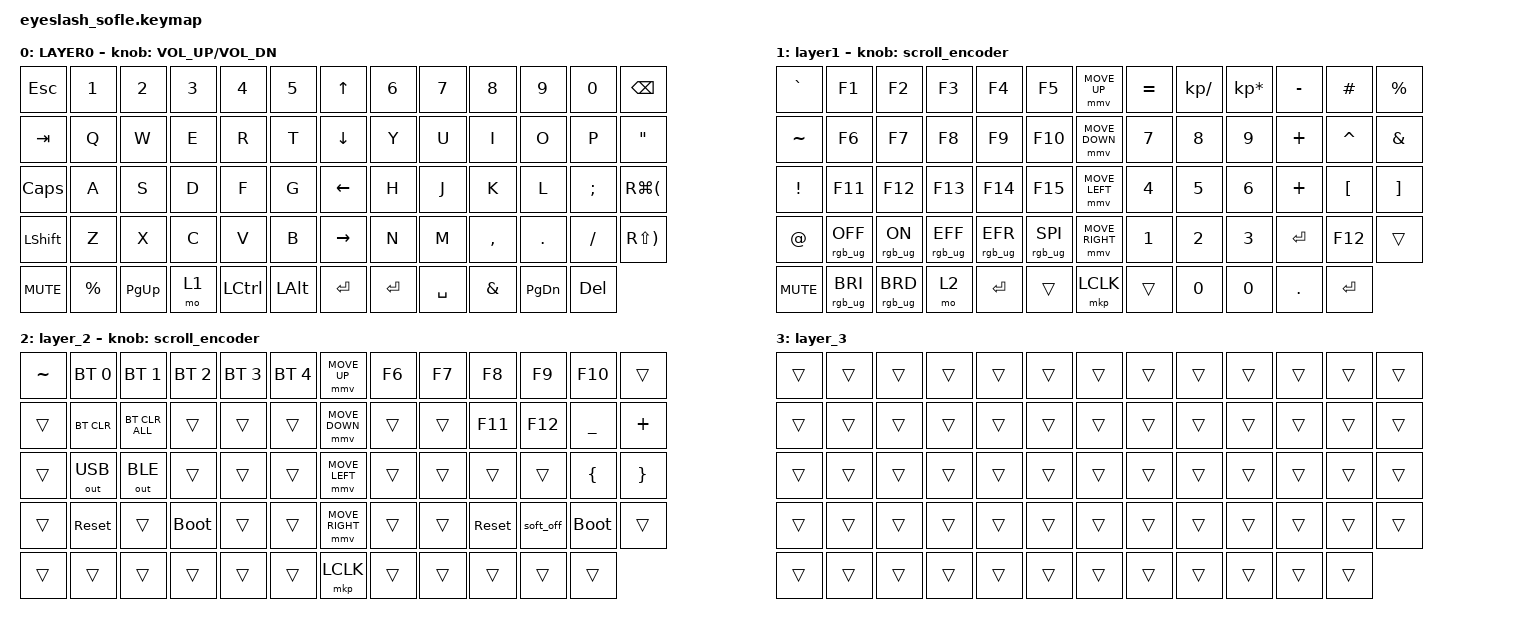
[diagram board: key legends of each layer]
#define ZMK_POINTING_DEFAULT_MOVE_VAL 1200  // 600
#define ZMK_POINTING_DEFAULT_SCRL_VAL 35    // 10

#include <input/processors.dtsi>
#include <zephyr/dt-bindings/input/input-event-codes.h>
#include <behaviors.dtsi>
#include <dt-bindings/zmk/bt.h>
#include <dt-bindings/zmk/keys.h>
#include <dt-bindings/zmk/outputs.h>
#include <dt-bindings/zmk/pointing.h>
#include <dt-bindings/zmk/rgb.h>

/ {
    zip_scroll_scaler: zip_scroll_scaler {
        compatible = "zmk,input-processor-scaler";
        #input-processor-cells = <2>;
        type = <INPUT_EV_REL>;
        codes = <INPUT_REL_WHEEL INPUT_REL_HWHEEL>;
        track-remainders;
    };
};

&mmv_input_listener { input-processors = <&zip_xy_scaler 2 1>; };

&msc_input_listener { input-processors = <&zip_scroll_scaler 2 1>; };

&msc {
    acceleration-exponent = <0>;      // 0
    time-to-max-speed-ms = <0>;       // 300
    delay-ms = <0>;                   // 0
};

&mmv {
    time-to-max-speed-ms = <400>;
    acceleration-exponent = <1>;
};

/ {
    scroll_encoder: scroll_encoder {
        compatible = "zmk,behavior-sensor-rotate";
        #sensor-binding-cells = <0>;
        bindings = <&msc SCRL_DOWN>, <&msc SCRL_UP>;

        tap-ms = <30>;
    };

    behaviors {
    };

    keymap {
        compatible = "zmk,keymap";

        layer0 {
            bindings = <
&kp ESC     &kp N1       &kp N2       &kp N3  &kp N4            &kp N5          &kp UP_ARROW     &kp N6     &kp N7     &kp N8         &kp N9         &kp N0      &kp BACKSPACE
&kp TAB     &kp Q        &kp W        &kp E   &kp R             &kp T           &kp DOWN_ARROW   &kp Y      &kp U      &kp I          &kp O          &kp P       &kp DOUBLE_QUOTES
&kp CAPS    &kp A        &kp S        &kp D   &kp F             &kp G           &kp LEFT_ARROW   &kp H      &kp J      &kp K          &kp L          &kp SEMI    &kp RG(LEFT_PARENTHESIS)
&kp LSHFT   &kp Z        &kp X        &kp C   &kp V             &kp B           &kp RIGHT_ARROW  &kp N      &kp M      &kp COMMA      &kp DOT        &kp FSLH    &kp RS(RIGHT_PARENTHESIS)
&kp C_MUTE  &kp PERCENT  &kp PAGE_UP  &mo 1   &kp LEFT_CONTROL  &kp LEFT_ALT    &kp ENTER        &kp ENTER  &kp SPACE  &kp AMPERSAND  &kp PAGE_DOWN  &kp DELETE
            >;

            sensor-bindings = <&inc_dec_kp C_VOLUME_UP C_VOL_DN>;
            display-name = "LAYER0";
        };

        layer_1 {
            bindings = <
&kp GRAVE        &kp F1           &kp F2           &kp F3           &kp F4           &kp F5             &mmv MOVE_UP     &kp EQUAL     &kp KP_DIVIDE  &kp KP_MULTIPLY  &kp MINUS  &kp HASH          &kp PERCENT
&kp TILDE        &kp F6           &kp F7           &kp F8           &kp F9           &kp F10            &mmv MOVE_DOWN   &kp NUMBER_7  &kp NUMBER_8   &kp NUMBER_9     &kp PLUS   &kp CARET         &kp AMPERSAND
&kp EXCLAMATION  &kp F11          &kp F12          &kp F13          &kp F14          &kp F15            &mmv MOVE_LEFT   &kp NUMBER_4  &kp NUMBER_5   &kp NUMBER_6     &kp PLUS   &kp LEFT_BRACKET  &kp RIGHT_BRACKET
&kp AT           &rgb_ug RGB_OFF  &rgb_ug RGB_ON   &rgb_ug RGB_EFF  &rgb_ug RGB_EFR  &rgb_ug RGB_SPI    &mmv MOVE_RIGHT  &kp NUMBER_1  &kp NUMBER_2   &kp NUMBER_3     &kp ENTER  &kp F12           &trans
&kp C_MUTE       &rgb_ug RGB_BRI  &rgb_ug RGB_BRD  &mo 2            &kp ENTER        &trans             &mkp LCLK        &trans        &kp NUMBER_0   &kp NUMBER_0     &kp DOT    &kp ENTER
            >;

            display-name = "layer1";
            sensor-bindings = <&scroll_encoder>;
        };

        layer_2 {
            bindings = <
&kp TILDE  &bt BT_SEL 0  &bt BT_SEL 1    &bt BT_SEL 2  &bt BT_SEL 3  &bt BT_SEL 4    &mmv MOVE_UP     &kp F6  &kp F7  &kp F8      &kp F9     &kp F10      &trans
&trans     &bt BT_CLR    &bt BT_CLR_ALL  &trans        &trans        &trans          &mmv MOVE_DOWN   &trans  &trans  &kp F11     &kp F12    &kp UNDER    &kp PLUS
&trans     &out OUT_USB  &out OUT_BLE    &trans        &trans        &trans          &mmv MOVE_LEFT   &trans  &trans  &trans      &trans     &kp LBRC     &kp RBRC
&trans     &sys_reset    &trans          &bootloader   &trans        &trans          &mmv MOVE_RIGHT  &trans  &trans  &sys_reset  &soft_off  &bootloader  &trans
&trans     &trans        &trans          &trans        &trans        &trans          &mkp LCLK        &trans  &trans  &trans      &trans     &trans
            >;

            sensor-bindings = <&scroll_encoder>;
        };

        layer_3 {
            bindings = <
&trans  &trans  &trans  &trans  &trans  &trans    &trans  &trans  &trans  &trans  &trans  &trans  &trans
&trans  &trans  &trans  &trans  &trans  &trans    &trans  &trans  &trans  &trans  &trans  &trans  &trans
&trans  &trans  &trans  &trans  &trans  &trans    &trans  &trans  &trans  &trans  &trans  &trans  &trans
&trans  &trans  &trans  &trans  &trans  &trans    &trans  &trans  &trans  &trans  &trans  &trans  &trans
&trans  &trans  &trans  &trans  &trans  &trans    &trans  &trans  &trans  &trans  &trans  &trans
            >;
        };
    };
};
